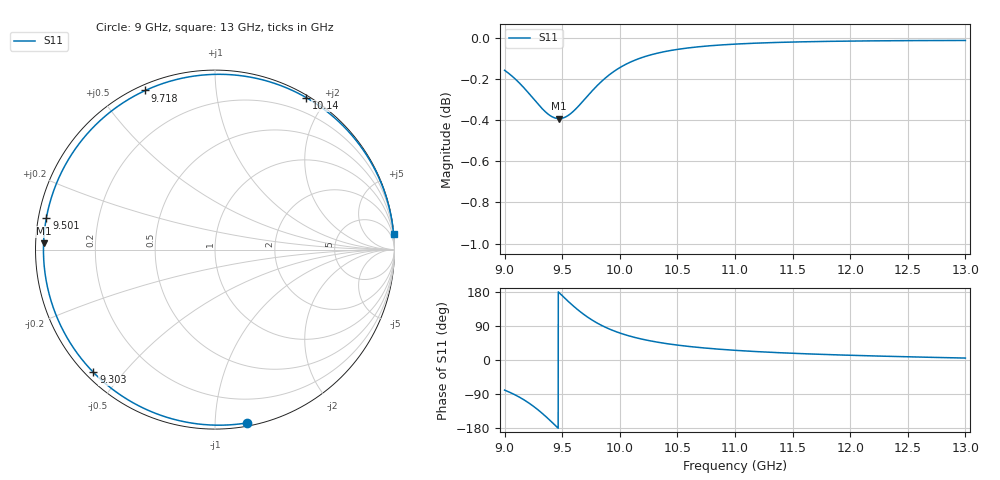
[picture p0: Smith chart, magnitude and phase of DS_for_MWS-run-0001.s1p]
! TOUCHSTONE file generated by CST DESIGN STUDIO
! Date and time: Tue Feb  4 18:26:18 2025
! Project name: C:\Work\MatlabApps\UnitCellOptimizationMatlab\CST\unitcell.cst
! Tree item: Tasks\Sweep1\SPara1\S-Parameters
! Header version: 2024
! Port assignment regex: !\s*Touchstone port\s*([0-9]+)\s*=\s*(CST MWS port|CST DES external port|CST DES block port)\s*(.+)\s* \(\"(.*)\"\)(\s*mode\s*([0-9]+))?.*
! Touchstone port assignment:
! Touchstone port 1 = CST DES external port 1 ("")
# GHz S MA R 50
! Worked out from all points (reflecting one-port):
!   4001 points, 9 GHz to 13 GHz, reference 50 ohm
!   lowest |S11| = -0.4 dB at 9.472 GHz (marker M1), VSWR 44.25, Z = 1.13 + j0.898 ohm
!   phase of S11 starts at -79 deg and turns -275 deg over the sweep
!   S11 on the Smith chart (normalised r, x): 9 GHz: 0.02, -1.20; 9.303 GHz: 0.02, -0.42; 9.501 GHz: 0.02, +0.09; 9.718 GHz: 0.02, +0.65; 10.14 GHz: 0.03, +1.77; 13 GHz: 0, +22
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9  0.982 -79.4
9.074  0.9783 -89.4
9.171  0.9722 -105.7
9.239  0.9673 -119.6
9.303  0.9627 -134.7
9.347  0.9599 -146.2
9.394  0.9575 -159.3
9.434  0.9562 -170.9
9.472  0.9558 177.9
9.5  0.956 169.7
9.501  0.956 169.4
9.553  0.9575 154.5
9.613  0.9607 138.2
9.665  0.9641 125.4
9.718  0.9678 113.7
9.774  0.9717 102.7
9.837  0.9757 92.1
9.917  0.9799 80.8
10  0.9835 71.2
10.138  0.9878 58.9
10.301  0.9911 48.4
10.5  0.9936 39.3
10.722  0.9952 32.1
11  0.9965 25.6
11.5  0.9977 17.7
12  0.9982 12.5
12.5  0.9984 8.5
13  0.9985 5.1
